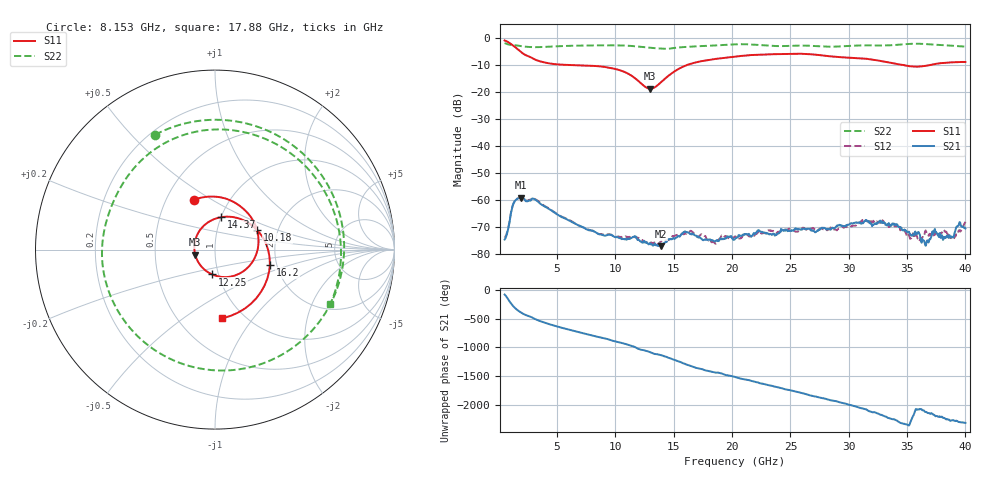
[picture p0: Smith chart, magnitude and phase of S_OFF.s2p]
!Agilent Technologies,N5230C,MY49000812,A.09.42.18
!Agilent N5230C: A.09.42.18
!Date: Friday, September 06, 2013 15:54:24
!Correction: S11(Full 2 Port(1,2))
!S21(Full 2 Port(1,2))
!S12(Full 2 Port(1,2))
!S22(Full 2 Port(1,2))
!S2P File: Measurements: S11, S21, S12, S22:
# Hz S  dB  R 50
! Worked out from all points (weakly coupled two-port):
!   801 points, 500 MHz to 40 GHz, reference 50 ohm
!   highest |S21| = -59.25 dB at 1.932 GHz (marker M1); lowest = -77.2 dB at 13.93 GHz (marker M2)
!   lowest |S11| = -18.9 dB at 12.99 GHz (marker M3), VSWR 1.26, Z = 40 - j2.29 ohm
!   |S11| at or under -10 dB: 5.565 GHz to 16.19 GHz (10.62 GHz wide, 97.7 % of centre); 34.54 GHz to 37.06 GHz (2.527 GHz wide, 7.06 % of centre)
!   |S22| runs from -4.1 to -2.0 dB; largest |S21 - S12| = 0.00047
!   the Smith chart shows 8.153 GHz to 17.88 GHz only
!   S11 on the Smith chart (normalised r, x): 8.153 GHz: 0.69, +0.42; 10.18 GHz: 1.56, +0.36; 12.25 GHz: 0.93, -0.26; 14.37 GHz: 1.00, +0.38; 16.2 GHz: 1.84, -0.35; 17.88 GHz: 0.80, -0.72
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5e8  -0.99 -105.1  -74.73 -81.0  -74.07 -82.3  -1.98 142.0
1.931875e9  -5.37 79.9  -59.25 -36.6  -59.05 -35.1  -3.10 72.0
4.94375e9  -9.82 -110.0  -65.26 86.9  -65.09 86.6  -3.16 -83.3
7.11625e9  -10.24 155.6  -69.95 -27.4  -70.00 -28.0  -2.88 167.0
8.153125e9  -10.41 112.9  -71.69 -79.3  -71.74 -80.6  -2.83 117.5
1.01775e10  -11.76 24.9  -73.86 175.0  -73.64 175.8  -2.81 22.0
1.225125e10  -17.11 -96.3  -75.48 36.8  -74.92 42.8  -3.39 -83.8
1.299188e10  -18.88 -165.6  -76.48 -6.5  -76.03 1.7  -3.73 -123.8
1.368312e10  -17.32 129.1  -77.13 -42.2  -76.17 -46.7  -3.94 -161.5
1.393e10  -16.39 109.6  -77.18 -55.3  -75.36 -58.5  -4.00 -175.0
1.437438e10  -14.70 78.9  -75.64 -83.8  -75.60 -87.0  -4.08 161.2
1.620125e10  -9.98 -15.5  -72.11 133.7  -72.47 140.2  -3.36 60.2
1.788e10  -8.29 -84.2  -74.79 34.4  -74.67 37.3  -2.97 -25.4
2.025e10  -6.97 -173.3  -74.54 -71.7  -73.54 -72.7  -2.44 -137.4
2.286688e10  -6.15 85.4  -72.23 157.4  -72.51 157.8  -2.87 90.9
2.47925e10  -5.96 11.5  -71.49 62.7  -70.91 61.4  -3.03 -7.4
2.686625e10  -6.14 -71.0  -71.45 -40.7  -70.67 -39.8  -3.01 -115.7
2.99275e10  -7.35 172.8  -69.22 170.0  -70.04 171.9  -3.04 88.6
3.155688e10  -7.80 108.8  -67.74 75.9  -67.99 75.6  -2.81 -0.8
3.343312e10  -9.13 29.2  -68.61 -67.7  -70.10 -55.7  -2.79 -94.1
3.713625e10  -9.93 -138.0  -72.35 9.5  -73.81 29.7  -2.46 99.1
4e10  -8.96 110.6  -70.65 -151.0  -68.11 -138.7  -3.27 -27.1
